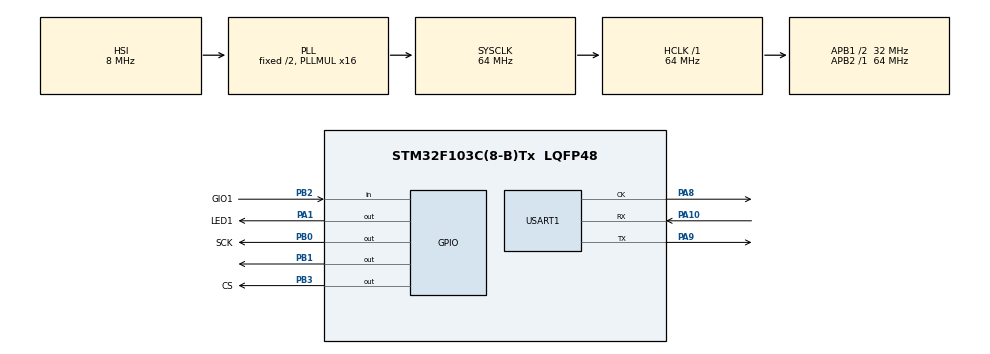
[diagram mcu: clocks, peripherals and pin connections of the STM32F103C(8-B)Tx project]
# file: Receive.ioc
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Mcu.Family=STM32F1
Mcu.Name=STM32F103C(8-B)Tx
Mcu.Package=LQFP48
NVIC.PriorityGroup=NVIC_PRIORITYGROUP_4
NVIC.TIM1_BRK_IRQn=true\:0\:0\:false\:true\:true\:2\:true\:true
NVIC.TIM1_CC_IRQn=true\:0\:0\:false\:true\:true\:4\:true\:true
NVIC.TIM1_TRG_COM_IRQn=true\:0\:0\:false\:true\:true\:3\:true\:true
NVIC.TIM1_UP_IRQn=true\:0\:0\:false\:true\:true\:1\:true\:true
NVIC.USART1_IRQn=true\:0\:0\:false\:true\:true\:5\:true\:true
PA1.GPIO_Label=LED1
PA1.Signal=GPIO_Output
PA10.Mode=Synchronous
PA10.Signal=USART1_RX
PA13.Mode=Serial_Wire
PA13.Signal=SYS_JTMS-SWDIO
PA14.Mode=Serial_Wire
PA14.Signal=SYS_JTCK-SWCLK
PA8.Mode=Synchronous
PA8.Signal=USART1_CK
PA9.Mode=Synchronous
PA9.Signal=USART1_TX
PB0.GPIO_Label=SCK
PB0.Signal=GPIO_Output
PB1.Signal=GPIO_Output
PB2.GPIO_Label=GIO1
PB2.GPIO_PuPd=GPIO_NOPULL
PB2.Signal=GPIO_Input
PB3.GPIO_Label=CS
PB3.Signal=GPIO_Output
ProjectManager.HeapSize=0x200
ProjectManager.StackSize=0x400
ProjectManager.TargetToolchain=MDK-ARM V5.27
RCC.AHBFreq_Value=64000000
RCC.APB1CLKDivider=RCC_HCLK_DIV2
RCC.APB1Freq_Value=32000000
RCC.APB1TimFreq_Value=64000000
RCC.APB2Freq_Value=64000000
RCC.APB2TimFreq_Value=64000000
RCC.HCLKFreq_Value=64000000
RCC.PLLMUL=RCC_PLL_MUL16
RCC.SYSCLKFreq_VALUE=64000000
RCC.SYSCLKSource=RCC_SYSCLKSOURCE_PLLCLK
RCC.USBFreq_Value=64000000
TIM1.AutoReloadPreload=TIM_AUTORELOAD_PRELOAD_ENABLE
TIM1.Period=1000-1
TIM1.Prescaler=64-1
USART1.VirtualMode=VM_SYNC
VP_TIM1_VS_ClockSourceINT.Mode=Internal
board=custom

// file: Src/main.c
/* USER CODE BEGIN Header */
/**
  ******************************************************************************
  * @file           : main.c
  * @brief          : Main program body
  ******************************************************************************
  * @attention
  *
  * <h2><center>&copy; Copyright (c) 2021 STMicroelectronics.
  * All rights reserved.</center></h2>
  *
  * This software component is licensed by ST under BSD 3-Clause license,
  * the "License"; You may not use this file except in compliance with the
  * License. You may obtain a copy of the License at:
  *                        opensource.org/licenses/BSD-3-Clause
  *
  ******************************************************************************
  */
/* USER CODE END Header */

#include "main.h"

/* USER CODE BEGIN PM */
#include "RF_A7205.h"
/* USER CODE END PM */

TIM_HandleTypeDef htim1;

extern USART_HandleTypeDef husart1;

void SystemClock_Config(void);
static void MX_GPIO_Init(void);
static void MX_TIM1_Init(void);
static void MX_USART1_Init(void);
static void MX_NVIC_Init(void);

/* USER CODE BEGIN 0 */

#define Set_LED1			HAL_GPIO_WritePin(GPIOA,GPIO_PIN_1,GPIO_PIN_SET)				 	//LED1
#define Clr_LED1			HAL_GPIO_WritePin(GPIOA,GPIO_PIN_1,GPIO_PIN_RESET)
#define Toggle_LED1		HAL_GPIO_TogglePin(GPIOA,GPIO_PIN_1)
extern uint8_t gcOneMsCount;
//uint8_t j;
//uint8_t m[] = {1,2,3,4,5};

/* USER CODE END 0 */

int main(void)
{

  /* MCU Configuration--------------------------------------------------------*/

  /* Reset of all peripherals, Initializes the Flash interface and the Systick. */
  HAL_Init();

  /* Configure the system clock */
  SystemClock_Config();

  /* Initialize all configured peripherals */
  MX_GPIO_Init();
  MX_TIM1_Init();
  MX_USART1_Init();

  /* Initialize interrupts */
  MX_NVIC_Init();
  /* USER CODE BEGIN 2 */

	HAL_TIM_Base_Start_IT(&htim1);

	A7205_initRF();

//	for(j=0;j<5;j++)
//		{
//			HAL_USART_Transmit(&husart1,(uint8_t *)(m + j) ,1,1000);
//
//		}

  /* USER CODE END 2 */

  /* Infinite loop */
  while (1)
  {

		if (GIO1 == 0)
		{
				A7205_RxPacket();     //GIO1为低时，接收数据
		}

  }
}

void SystemClock_Config(void)
{
  RCC_OscInitTypeDef RCC_OscInitStruct = {0};
  RCC_ClkInitTypeDef RCC_ClkInitStruct = {0};

  /** Initializes the CPU, AHB and APB busses clocks
  */
  RCC_OscInitStruct.OscillatorType = RCC_OSCILLATORTYPE_HSI;
  RCC_OscInitStruct.HSIState = RCC_HSI_ON;
  RCC_OscInitStruct.HSICalibrationValue = RCC_HSICALIBRATION_DEFAULT;
  RCC_OscInitStruct.PLL.PLLState = RCC_PLL_ON;
  RCC_OscInitStruct.PLL.PLLSource = RCC_PLLSOURCE_HSI_DIV2;
  RCC_OscInitStruct.PLL.PLLMUL = RCC_PLL_MUL16;
  if (HAL_RCC_OscConfig(&RCC_OscInitStruct) != HAL_OK)
  {
    Error_Handler();
  }
  /** Initializes the CPU, AHB and APB busses clocks
  */
  RCC_ClkInitStruct.ClockType = RCC_CLOCKTYPE_HCLK|RCC_CLOCKTYPE_SYSCLK
                              |RCC_CLOCKTYPE_PCLK1|RCC_CLOCKTYPE_PCLK2;
  RCC_ClkInitStruct.SYSCLKSource = RCC_SYSCLKSOURCE_PLLCLK;
  RCC_ClkInitStruct.AHBCLKDivider = RCC_SYSCLK_DIV1;
  RCC_ClkInitStruct.APB1CLKDivider = RCC_HCLK_DIV2;
  RCC_ClkInitStruct.APB2CLKDivider = RCC_HCLK_DIV1;

  if (HAL_RCC_ClockConfig(&RCC_ClkInitStruct, FLASH_LATENCY_2) != HAL_OK)
  {
    Error_Handler();
  }
}

/**
  * @brief NVIC Configuration.
  * @retval None
  */
static void MX_NVIC_Init(void)
{
  /* TIM1_UP_IRQn interrupt configuration */
  HAL_NVIC_SetPriority(TIM1_UP_IRQn, 0, 0);
  HAL_NVIC_EnableIRQ(TIM1_UP_IRQn);
  /* TIM1_BRK_IRQn interrupt configuration */
  HAL_NVIC_SetPriority(TIM1_BRK_IRQn, 0, 0);
  HAL_NVIC_EnableIRQ(TIM1_BRK_IRQn);
  /* TIM1_TRG_COM_IRQn interrupt configuration */
  HAL_NVIC_SetPriority(TIM1_TRG_COM_IRQn, 0, 0);
  HAL_NVIC_EnableIRQ(TIM1_TRG_COM_IRQn);
  /* TIM1_CC_IRQn interrupt configuration */
  HAL_NVIC_SetPriority(TIM1_CC_IRQn, 0, 0);
  HAL_NVIC_EnableIRQ(TIM1_CC_IRQn);
  /* USART1_IRQn interrupt configuration */
  HAL_NVIC_SetPriority(USART1_IRQn, 0, 0);
  HAL_NVIC_EnableIRQ(USART1_IRQn);
}

static void MX_TIM1_Init(void)
{

  TIM_ClockConfigTypeDef sClockSourceConfig = {0};
  TIM_MasterConfigTypeDef sMasterConfig = {0};

  htim1.Instance = TIM1;
  htim1.Init.Prescaler = 64-1;
  htim1.Init.CounterMode = TIM_COUNTERMODE_UP;
  htim1.Init.Period = 1000-1;
  htim1.Init.ClockDivision = TIM_CLOCKDIVISION_DIV1;
  htim1.Init.RepetitionCounter = 0;
  htim1.Init.AutoReloadPreload = TIM_AUTORELOAD_PRELOAD_ENABLE;
  if (HAL_TIM_Base_Init(&htim1) != HAL_OK)
  {
    Error_Handler();
  }
  sClockSourceConfig.ClockSource = TIM_CLOCKSOURCE_INTERNAL;
  if (HAL_TIM_ConfigClockSource(&htim1, &sClockSourceConfig) != HAL_OK)
  {
    Error_Handler();
  }
  sMasterConfig.MasterOutputTrigger = TIM_TRGO_RESET;
  sMasterConfig.MasterSlaveMode = TIM_MASTERSLAVEMODE_DISABLE;
  if (HAL_TIMEx_MasterConfigSynchronization(&htim1, &sMasterConfig) != HAL_OK)
  {
    Error_Handler();
  }

}

static void MX_USART1_Init(void)
{

  husart1.Instance = USART1;
  husart1.Init.BaudRate = 460800;
  husart1.Init.WordLength = USART_WORDLENGTH_8B;
  husart1.Init.StopBits = USART_STOPBITS_1;
  husart1.Init.Parity = USART_PARITY_NONE;
  husart1.Init.Mode = USART_MODE_TX_RX;
  husart1.Init.CLKPolarity = USART_POLARITY_LOW;
  husart1.Init.CLKPhase = USART_PHASE_1EDGE;
  husart1.Init.CLKLastBit = USART_LASTBIT_DISABLE;

  if (HAL_USART_Init(&husart1) != HAL_OK)
  {
    Error_Handler();
  }

}

static void MX_GPIO_Init(void)
{
  GPIO_InitTypeDef GPIO_InitStruct = {0};

  /* GPIO Ports Clock Enable */
  __HAL_RCC_GPIOA_CLK_ENABLE();
  __HAL_RCC_GPIOB_CLK_ENABLE();

  /*Configure GPIO pin Output Level */
  HAL_GPIO_WritePin(LED1_GPIO_Port, LED1_Pin, GPIO_PIN_RESET);

  /*Configure GPIO pin Output Level */
  HAL_GPIO_WritePin(GPIOB, SCK_Pin|GPIO_PIN_1|CS_Pin, GPIO_PIN_RESET);

  /*Configure GPIO pin : LED1_Pin */
  GPIO_InitStruct.Pin = LED1_Pin;
  GPIO_InitStruct.Mode = GPIO_MODE_OUTPUT_PP;
  GPIO_InitStruct.Pull = GPIO_NOPULL;
  GPIO_InitStruct.Speed = GPIO_SPEED_FREQ_LOW;
  HAL_GPIO_Init(LED1_GPIO_Port, &GPIO_InitStruct);

  /*Configure GPIO pins : SCK_Pin PB1 CS_Pin */
  GPIO_InitStruct.Pin = SCK_Pin|GPIO_PIN_1|CS_Pin;
  GPIO_InitStruct.Mode = GPIO_MODE_OUTPUT_PP;    // 输出
  GPIO_InitStruct.Pull = GPIO_NOPULL;
  GPIO_InitStruct.Speed = GPIO_SPEED_FREQ_LOW;
  HAL_GPIO_Init(GPIOB, &GPIO_InitStruct);

  /*Configure GPIO pin : GIO1_Pin */
  GPIO_InitStruct.Pin = GIO1_Pin;
  GPIO_InitStruct.Mode = GPIO_MODE_INPUT;
  GPIO_InitStruct.Pull = GPIO_NOPULL;
  HAL_GPIO_Init(GIO1_GPIO_Port, &GPIO_InitStruct);

}

/* USER CODE BEGIN 4 */
void Set_SDIO_OutX(void)
{
	GPIO_InitTypeDef GPIO_InitStruct = {0};
  /*Configure GPIO pins : SCK_Pin PB1 CS_Pin */
  GPIO_InitStruct.Pin = GPIO_PIN_1;
  GPIO_InitStruct.Mode = GPIO_MODE_OUTPUT_PP;
  GPIO_InitStruct.Pull = GPIO_NOPULL;
  GPIO_InitStruct.Speed = GPIO_SPEED_FREQ_LOW;
  HAL_GPIO_Init(GPIOB, &GPIO_InitStruct);

}

void Set_SDIO_InX(void)
{
	GPIO_InitTypeDef GPIO_InitStruct = {0};
	  /*Configure GPIO pin : PB1 */
  GPIO_InitStruct.Pin = GPIO_PIN_1;
  GPIO_InitStruct.Mode = GPIO_MODE_INPUT;
  GPIO_InitStruct.Pull = GPIO_PULLUP;
  HAL_GPIO_Init(GPIOB, &GPIO_InitStruct);
}

/* USER CODE END 4 */

void Error_Handler(void)
{
}

/************************ (C) COPYRIGHT STMicroelectronics *****END OF FILE****/
